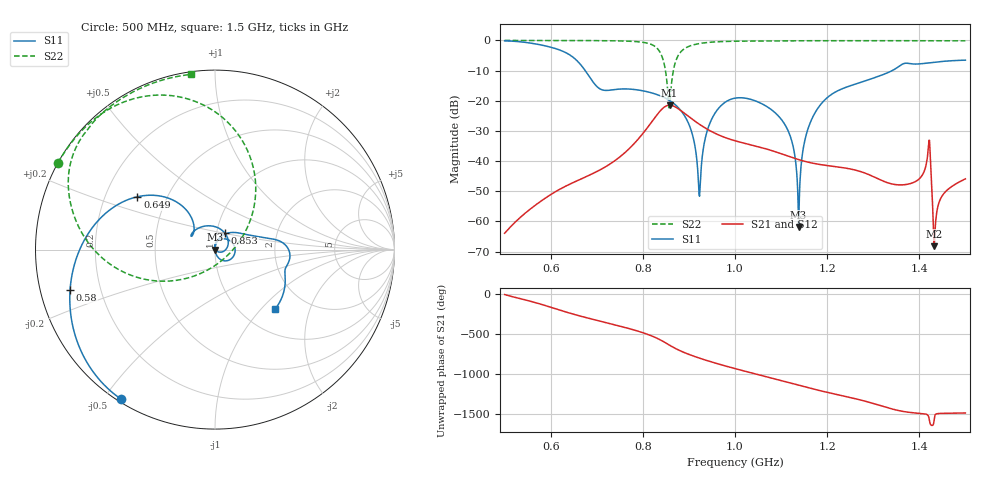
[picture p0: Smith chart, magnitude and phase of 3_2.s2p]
! TOUCHSTONE file generated by CST MICROWAVE STUDIO
! Date and time: Wed Oct 28 19:33:47 2020
! Project name: Scenario_1_Circular_Tissue_out_of_Line_v2.cst
! Parameters = {dy1=-311.4; L_HA=400; MT=2.54; Rad_Dielectric=30; Rad_Lower=7.3; Rad_Upper=30; a_HA=580; a_WG=246; b_HA=500; b_WG=121; c_HA=0; c_WG=187; d_feed=85; dx1=346; h_feed=15; h_lower=18; h_upper=40}
! Header version: 2018
! Port assignment regex: !\s*Touchstone port\s*([0-9]+)\s*=\s*(CST MWS port|CST DS port)\s*([0-9]+|Zmin|Zmax)\s*\(\"(.*)\"\)(\s*mode\s*([0-9]+))?.*
! Touchstone port assignment:
! Touchstone port 1 = CST MWS port 1 ("")
! Touchstone port 2 = CST MWS port 2 ("")
# GHz S DB R 50
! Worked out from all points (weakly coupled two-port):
!   1003 points, 500 MHz to 1.5 GHz, reference 50 ohm
!   highest |S21| = -21.46 dB at 858 MHz (marker M1); lowest = -68.2 dB at 1.432 GHz (marker M2)
!   lowest |S11| = -61.9 dB at 1.138 GHz (marker M3), VSWR 1.00, Z = 50.1 - j0.0146 ohm
!   |S11| at or under -10 dB: 674.9 MHz to 1.341 GHz (666.2 MHz wide, 66.1 % of centre)
!   |S22| runs from -22.9 to 0.0 dB; largest |S21 - S12| = 0.00013
!   S11 on the Smith chart (normalised r, x): 500 MHz: 0.01, -0.55; 580 MHz: 0.09, -0.14; 649 MHz: 0.34, +0.28; 853 MHz: 1.10, +0.20; 1.5 GHz: 1.40, -1.20
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0.5  -0.14 -122.3  -63.91 -9.3  -63.91 -9.3  -0.01 151.1
0.58  -1.53 -164.3  -53.14 -132.4  -53.14 -132.4  -0.02 145.6
0.649  -5.63 145.7  -47.10 105.3  -47.10 105.3  -0.03 140.1
0.667  -8.39 131.7  -45.85 76.9  -45.85 76.9  -0.04 138.4
0.781  -16.25 133.5  -34.22 -93.1  -34.22 -93.1  -0.34 120.1
0.834  -18.13 84.2  -24.04 154.5  -24.04 154.5  -3.14 82.7
0.853  -19.45 58.2  -21.58 93.5  -21.58 93.5  -14.91 27.4
0.858  -19.91 50.6  -21.46 76.4  -21.46 76.4  -22.42 -71.6
0.874  -21.81 24.6  -22.35 26.0  -22.35 26.0  -5.85 -164.9
0.901  -28.19 -20.7  -25.42 -41.0  -25.42 -41.0  -1.90 166.9
0.923  -51.63 40.5  -27.82 -85.7  -27.82 -85.7  -1.03 156.9
0.948  -26.54 76.1  -30.11 -131.3  -30.11 -131.3  -0.58 149.6
1  -19.13 6.6  -33.25 143.5  -33.25 143.5  -0.26 140.2
1.103  -26.67 -68.6  -37.70 -11.7  -37.70 -11.7  -0.12 129.5
1.124  -33.78 -77.7  -38.80 -43.8  -38.80 -43.8  -0.11 127.7
1.138  -61.87 -10.4  -39.49 -65.2  -39.49 -65.2  -0.10 126.5
1.167  -25.96 75.0  -40.64 -108.3  -40.64 -108.3  -0.10 124.2
1.334  -10.52 12.4  -47.31 8.5  -47.31 8.5  -0.09 111.5
1.396  -7.82 -16.5  -46.35 -54.7  -46.35 -54.7  -0.10 106.6
1.42  -7.45 -22.7  -34.81 -96.0  -34.78 -96.0  -0.10 104.7
1.432  -7.24 -26.0  -68.20 -147.1  -68.12 -147.4  -0.10 103.7
1.5  -6.54 -44.9  -45.87 -52.4  -45.87 -52.4  -0.13 97.9
